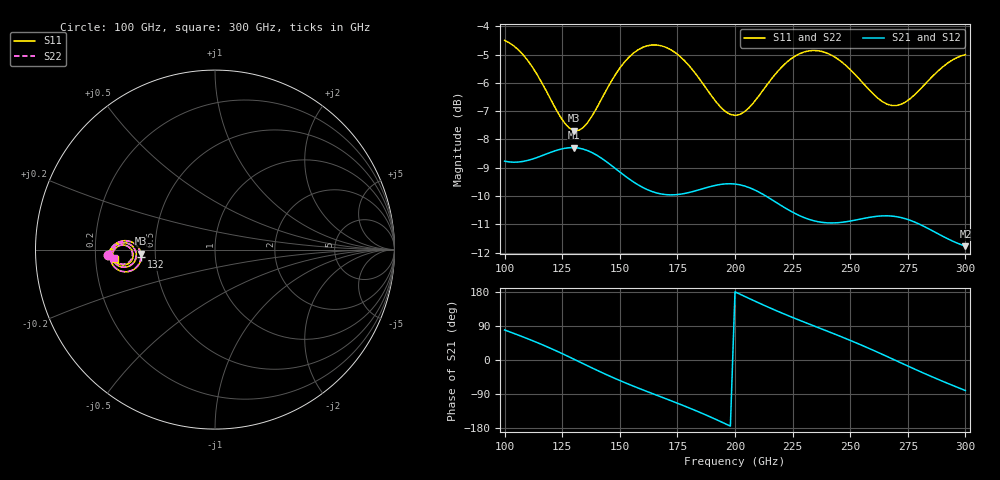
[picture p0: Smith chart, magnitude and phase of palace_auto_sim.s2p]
#  GHZ S DB R 50
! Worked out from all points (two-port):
!   101 points, 100 GHz to 300 GHz, reference 50 ohm
!   highest |S21| = -8.29 dB at 130 GHz (marker M1); lowest = -11.8 dB at 300 GHz (marker M2)
!   |S21| within 3 dB of the highest: start of sweep to 287.1 GHz
!   lowest |S11| = -7.7 dB at 130 GHz (marker M3), VSWR 2.41, Z = 20.8 - j1.11 ohm
!   |S11| at or under -10 dB: nowhere
!   |S22| runs from -7.6 to -4.5 dB; largest |S21 - S12| = 6.5e-14
!   S11 on the Smith chart (normalised r, x): 100 GHz: 0.25, -0.02; 132 GHz: 0.42, -0.04; 300 GHz: 0.28, -0.04
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100  -4.50 -177.2  -8.77 79.3  -8.77 79.3  -4.49 -177.1
116  -5.97 174.3  -8.58 41.2  -8.58 41.2  -5.95 174.4
130  -7.69 -176.9  -8.29 2.4  -8.29 2.4  -7.64 -176.9
132  -7.69 -174.4  -8.31 -3.5  -8.31 -3.5  -7.64 -174.4
134  -7.59 -172.0  -8.34 -9.4  -8.34 -9.4  -7.54 -172.1
142  -6.58 -166.1  -8.66 -32.5  -8.66 -32.5  -6.55 -166.2
150  -5.48 -166.8  -9.15 -54.1  -9.15 -54.1  -5.46 -166.9
158  -4.83 -171.0  -9.61 -74.0  -9.61 -74.0  -4.81 -171.1
168  -4.69 -177.4  -9.93 -97.6  -9.93 -97.6  -4.67 -177.5
184  -5.80 175.7  -9.79 -136.3  -9.79 -136.3  -5.78 175.7
192  -6.69 177.4  -9.62 -157.6  -9.62 -157.6  -6.67 177.3
200  -7.15 -176.5  -9.58 179.8  -9.58 179.8  -7.12 -176.6
208  -6.71 -170.5  -9.77 157.1  -9.77 157.1  -6.68 -170.6
216  -5.84 -168.9  -10.13 135.3  -10.13 135.3  -5.82 -169.0
224  -5.17 -171.1  -10.53 114.8  -10.53 114.8  -5.15 -171.2
234  -4.86 -176.0  -10.87 90.5  -10.87 90.5  -4.83 -176.0
250  -5.53 177.5  -10.89 51.8  -10.89 51.8  -5.48 177.5
260  -6.39 178.3  -10.73 25.7  -10.73 25.7  -6.33 178.2
268  -6.80 -177.3  -10.71 3.7  -10.71 3.7  -6.72 -177.6
276  -6.56 -172.4  -10.86 -18.6  -10.86 -18.6  -6.50 -172.9
284  -5.91 -170.4  -11.16 -40.3  -11.16 -40.3  -5.87 -171.0
300  -5.00 -174.5  -11.77 -80.6  -11.77 -80.6  -4.99 -175.1
